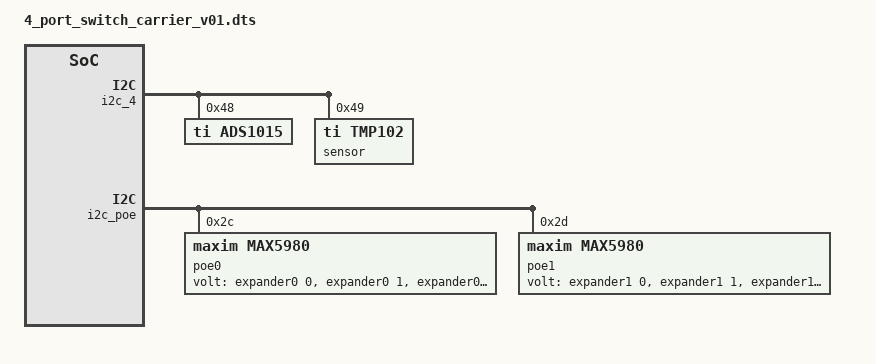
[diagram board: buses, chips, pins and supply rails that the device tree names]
// SPDX-License-Identifier: GPL-2.0-only
/*
 * Copyright (C) 2025
 */

/dts-v1/;
/plugin/;

#include "../microchip/lan969x.dtsi"

/*
 * Helper to show loaded overlays under: /proc/device-tree/chosen/overlays/
 */
&{/chosen} {
    overlays {
            carrier.overlay = "4_port_switch_carrier_v01";
    };
};

&i2c_4 {
        #address-cells = <1>;
        #size-cells = <0>;

        ads1015@48 {
                compatible = "ti,ads1015";
                reg = <0x48>;
                #address-cells = <1>;
                #size-cells = <0>;

                channel@4 {
                        reg = <4>;
                };
                channel@5 {
                        reg = <5>;
                };
                channel@6 {
                        reg = <6>;
                };
                channel@7 {
                        reg = <7>;
                };
        };

        sensor@49 {
            compatible = "ti,tmp102";
            reg = <0x49>;
            #thermal-sensor-cells = <1>;
        };
};

&i2c_poe {
	#address-cells = <1>;
	#size-cells = <0>;

	poe0: max5980@2C {
        compatible = "maxim,max5980";
        reg = <0x2C>;

        volt-gpios = <&expander0 0 0>, <&expander0 1 0>,
                     <&expander0 2 0>, <&expander0 3 0>,
                     <&expander0 4 0>, <&expander0 5 0>,
                     <&expander0 6 0>, <&expander0 7 0>,
                     <&expander0 8 0>, <&expander0 9 0>,
                     <&expander0 10 0>, <&expander0 11 0>,
                     <&expander0 12 0>, <&expander0 13 0>,
                     <&expander0 14 0>, <&expander0 15 0>;

        port0@0 {
                enable = <1>;
                mode = "off";
                power = <1>;
				name-ref = <&switch 0>;
        };
        port1@1 {
                enable = <1>;
                mode = "off";
                power = <1>;
				name-ref = <&switch 1>;
        };
        port2@2 {
                enable = <1>;
                mode = "off";
                power = <1>;
				name-ref = <&switch 2>;
        };
        port3@3 {
                enable = <1>;
                mode = "off";
                power = <1>;
				name-ref = <&switch 3>;
        };
	};

	poe1: max5980@2D {
        compatible = "maxim,max5980";
        reg = <0x2D>;

        volt-gpios = <&expander1 0 0>, <&expander1 1 0>,
                     <&expander1 2 0>, <&expander1 3 0>,
                     <&expander1 4 0>, <&expander1 5 0>,
                     <&expander1 6 0>, <&expander1 7 0>,
                     <&expander1 8 0>, <&expander1 9 0>,
                     <&expander1 10 0>, <&expander1 11 0>,
                     <&expander1 12 0>, <&expander1 13 0>,
                     <&expander1 14 0>, <&expander1 15 0>;

        port0@0 {
                enable = <1>;
                mode = "off";
                power = <1>;
                name-ref = <&switch 4>;
        };
        port1@1 {
                enable = <1>;
                mode = "off";
                power = <1>;
                name-ref = <&switch 5>;
        };
        port2@2 {
                enable = <1>;
                mode = "off";
                power = <1>;
                name-ref = <&switch 6>;
        };
        port3@3 {
                enable = <1>;
                mode = "off";
                power = <1>;
                name-ref = <&switch 7>;
        };
	};
};
